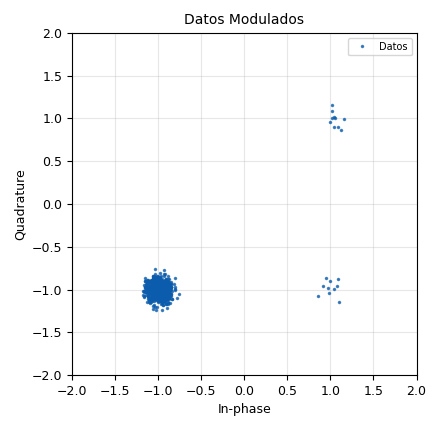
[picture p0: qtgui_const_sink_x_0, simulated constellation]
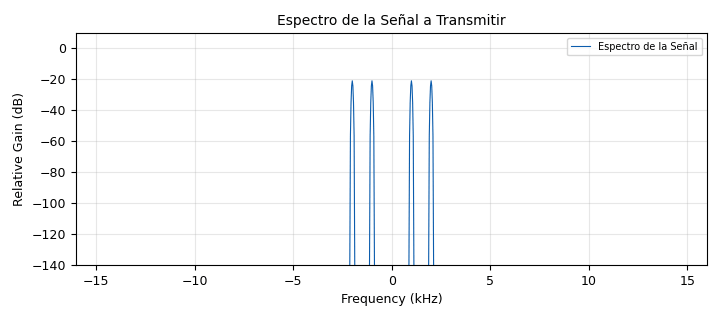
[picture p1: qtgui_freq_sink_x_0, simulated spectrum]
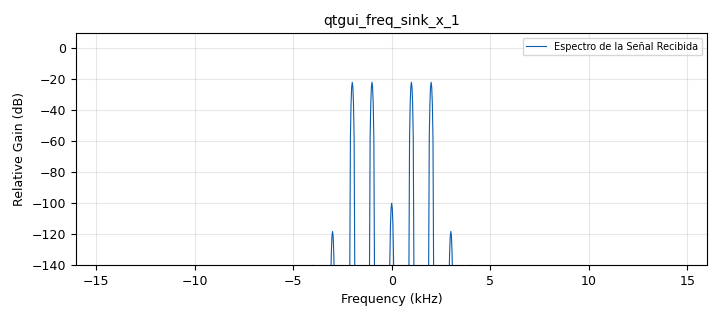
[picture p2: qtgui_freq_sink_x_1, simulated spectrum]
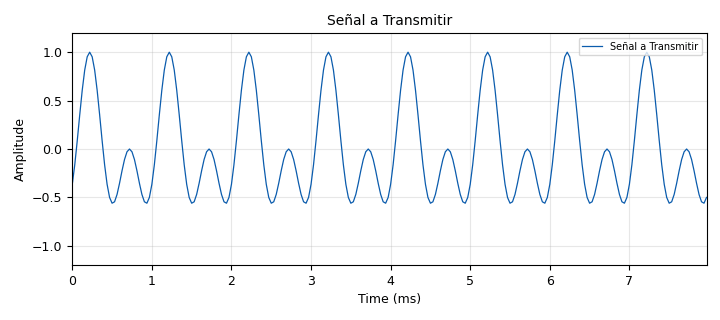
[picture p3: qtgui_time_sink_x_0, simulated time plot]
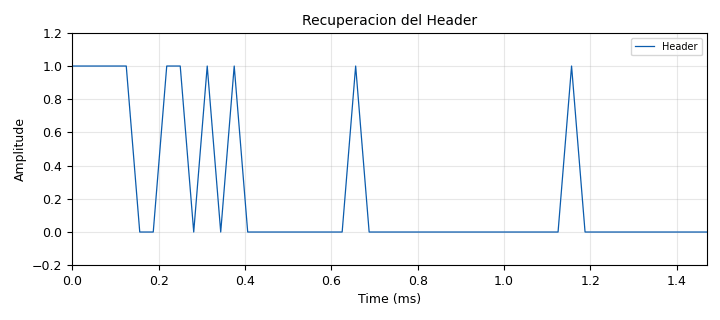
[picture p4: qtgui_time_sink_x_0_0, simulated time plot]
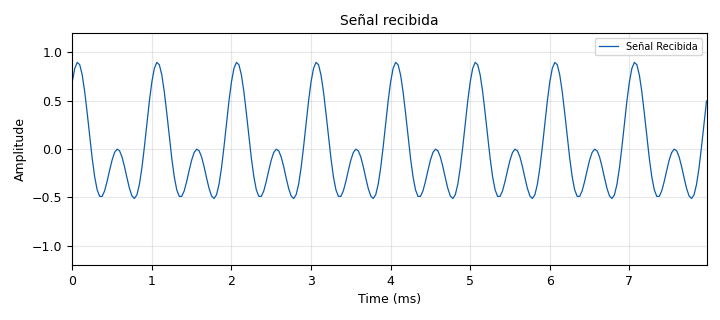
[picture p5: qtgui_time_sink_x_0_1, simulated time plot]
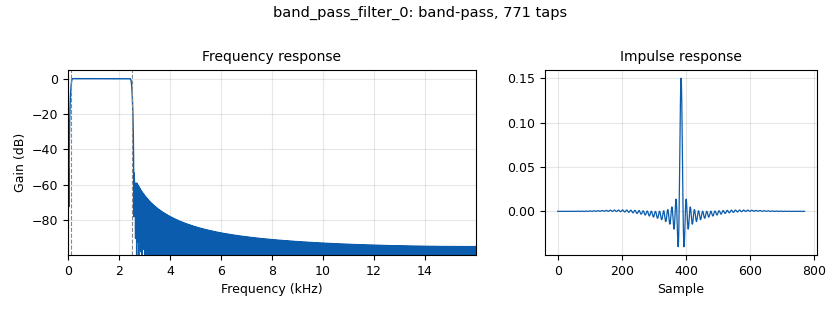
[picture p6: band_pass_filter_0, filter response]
options:
  parameters:
    author: Adan
    generate_options: qt_gui
    id: tx_rx_
    output_language: python
    title: Transmisor-Receptor-SISCOMD2023
  states: {}

blocks:
- name: Costelacion
  id: variable
  parameters:
    value: '[-1-1j, 1-1j, -1+1j, 1+1j]'
  states: {}
- name: M
  id: variable
  parameters:
    value: '4'
  states: {}
- name: Nbps
  id: variable
  parameters:
    value: int(math.log(M,2))
  states: {}
- name: costelacion_mod
  id: variable_constellation
  parameters:
    const_points: Costelacion
    precision: '8'
    type: qpsk
  states: {}
- name: hdr_format_1
  id: variable_header_format_default
  parameters:
    access_code: '1111100110101000'
    bps: '1'
    threshold: '0'
  states: {}
- name: repetition_decoder
  id: variable_repetition_decoder_def
  parameters:
    framebits: '240'
    ndim: '0'
    prob: '0.5'
    rep: '3'
  states: {}
- name: repetition_encoder
  id: variable_repetition_encoder_def
  parameters:
    framebits: '240'
    ndim: '0'
    rep: '3'
  states: {}
- name: samp_rate
  id: variable
  parameters:
    value: '32000'
  states: {}
- name: ventana
  id: variable
  parameters:
    value: (1.,1.,1.,1.)
  states: {}
- name: volumen
  id: variable
  parameters:
    value: '0.5'
  states: {}
- name: analog_noise_source_x_0
  id: analog_noise_source_x
  parameters:
    amp: '0.1'
    noise_type: analog.GR_GAUSSIAN
    seed: '0'
    type: complex
  states: {}
- name: analog_sig_source_x_0
  id: analog_sig_source_x
  parameters:
    amp: volumen
    freq: '1000'
    offset: '0'
    phase: '0'
    samp_rate: samp_rate
    type: float
    waveform: analog.GR_COS_WAVE
  states: {}
- name: analog_sig_source_x_0_0
  id: analog_sig_source_x
  parameters:
    amp: volumen
    freq: '2000'
    offset: '0'
    phase: '0'
    samp_rate: samp_rate
    type: float
    waveform: analog.GR_COS_WAVE
  states: {}
- name: audio_sink_0
  id: audio_sink
  parameters:
    samp_rate: samp_rate
  states: {}
- name: band_pass_filter_0
  id: band_pass_filter
  parameters:
    gain: '1'
    high_cutoff_freq: 2.5e3
    interp: '1'
    low_cutoff_freq: '100'
    samp_rate: samp_rate
    type: interp_fir_filter_fff
    width: '100'
    win: window.WIN_HAMMING
  states: {}
- name: blocks_add_xx_0
  id: blocks_add_xx
  parameters:
    type: float
  states: {}
- name: blocks_add_xx_1
  id: blocks_add_xx
  parameters:
    type: complex
  states: {}
- name: blocks_char_to_float_0
  id: blocks_char_to_float
  parameters:
    scale: '1'
  states: {}
- name: blocks_char_to_float_0_0
  id: blocks_char_to_float
  parameters:
    scale: '1'
  states: {}
- name: blocks_char_to_float_0_1
  id: blocks_char_to_float
  parameters:
    scale: '1'
  states: {}
- name: blocks_char_to_float_0_2
  id: blocks_char_to_float
  parameters:
    scale: '1'
  states: {}
- name: blocks_char_to_float_0_2_0
  id: blocks_char_to_float
  parameters:
    scale: '1'
  states: {}
- name: blocks_pack_k_bits_bb_1
  id: blocks_pack_k_bits_bb
  parameters:
    k: '8'
  states: {}
- name: blocks_packed_to_unpacked_xx_0
  id: blocks_packed_to_unpacked_xx
  parameters:
    bits_per_chunk: '1'
    endianness: gr.GR_LSB_FIRST
    type: byte
  states: {}
- name: blocks_repack_bits_bb_0
  id: blocks_repack_bits_bb
  parameters:
    endianness: gr.GR_MSB_FIRST
    k: '8'
    l: '1'
    len_tag_key: '"packet_len"'
  states: {}
- name: blocks_repack_bits_bb_1
  id: blocks_repack_bits_bb
  parameters:
    endianness: gr.GR_MSB_FIRST
    k: '1'
    l: '8'
    len_tag_key: '"payload symbols"'
  states: {}
- name: blocks_repack_bits_bb_1_0
  id: blocks_repack_bits_bb
  parameters:
    endianness: gr.GR_MSB_FIRST
    k: '1'
    l: Nbps
  states: {}
- name: blocks_repack_bits_bb_1_0_1
  id: blocks_repack_bits_bb
  parameters:
    endianness: gr.GR_MSB_FIRST
    k: '2'
    l: '1'
  states: {}
- name: blocks_stream_to_tagged_stream_0
  id: blocks_stream_to_tagged_stream
  parameters:
    len_tag_key: '"packet_len"'
    packet_len: '1024'
    type: byte
  states: {}
- name: blocks_tagged_stream_mux_0
  id: blocks_tagged_stream_mux
  parameters:
    lengthtagname: '"packet_len"'
    ninputs: '2'
    type: byte
  states: {}
- name: blocks_throttle2_0
  id: blocks_throttle2
  parameters:
    samples_per_second: samp_rate * 8
    type: byte
  states: {}
- name: blocks_unpack_k_bits_bb_0_0
  id: blocks_unpack_k_bits_bb
  parameters:
    k: '8'
  states: {}
- name: blocks_unpacked_to_packed_xx_1
  id: blocks_unpacked_to_packed_xx
  parameters:
    bits_per_chunk: '1'
    endianness: gr.GR_LSB_FIRST
    type: byte
  states: {}
- name: digital_chunks_to_symbols_xx_0
  id: digital_chunks_to_symbols_xx
  parameters:
    dimension: '1'
    in_type: byte
    out_type: complex
    symbol_table: Costelacion
  states: {}
- name: digital_constellation_decoder_cb_0
  id: digital_constellation_decoder_cb
  parameters:
    constellation: costelacion_mod
  states: {}
- name: digital_header_payload_demux_0
  id: digital_header_payload_demux
  parameters:
    alias: Matias
    comment: Solo funciona si se coloca la palabra "payload symbols" en Length tag key
    header_len: hdr_format_1.header_nbits()
    header_padding: '0'
    items_per_symbol: '1'
    length_tag_key: '"payload symbols"'
    output_symbols: 'True'
    samp_rate: samp_rate
    special_tags: '[]'
    timing_tag_key: '"rx_time"'
    trigger_tag_key: '"packet_len"'
    type: byte
  states: {}
- name: digital_map_bb_0_0
  id: digital_map_bb
  parameters:
    map: '[-1, 1]'
  states: {}
- name: digital_protocol_formatter_bb_0
  id: digital_protocol_formatter_bb
  parameters:
    format: hdr_format_1
    len_tag_key: '"packet_len"'
  states: {}
- name: digital_protocol_parser_b_0
  id: digital_protocol_parser_b
  parameters:
    format: hdr_format_1
  states: {}
- name: fec_extended_decoder_0_0
  id: fec_extended_decoder
  parameters:
    decoder_list: repetition_decoder
    puncpat: '''11'''
    threadtype: capillary
  states: {}
- name: fec_extended_encoder_1_0
  id: fec_extended_encoder
  parameters:
    encoder_list: repetition_encoder
    puncpat: '''11'''
    threadtype: capillary
  states: {}
- name: grafica
  id: qtgui_tab_widget
  parameters:
    label0: Audio a Transmitido - Recuperado
    label1: Transmisor
    label2: Receptor
    num_tabs: '3'
  states: {}
- name: import_0
  id: import
  parameters:
    imports: import math
  states: {}
- name: qtgui_const_sink_x_0
  id: qtgui_const_sink_x
  parameters:
    grid: 'True'
    gui_hint: grafica@1:3,0,1,1
    label1: Datos
    name: Datos Modulados
    size: '1024'
    type: complex
  states: {}
- name: qtgui_freq_sink_x_0
  id: qtgui_freq_sink_x
  parameters:
    bw: samp_rate
    fc: '0'
    fftsize: '1024'
    gui_hint: grafica@0:1,0,1,1
    label1: Espectro de la Señal
    name: Espectro de la Señal a Transmitir
    type: float
  states: {}
- name: qtgui_freq_sink_x_1
  id: qtgui_freq_sink_x
  parameters:
    bw: samp_rate
    fc: '0'
    fftsize: '1024'
    gui_hint: grafica@0:3,0,1,1
    label1: Espectro de la Señal Recibida
    type: float
  states: {}
- name: qtgui_time_sink_x_0
  id: qtgui_time_sink_x
  parameters:
    gui_hint: grafica@0:0,0,1,1
    label1: Señal a Transmitir
    name: Señal a Transmitir
    size: '256'
    srate: samp_rate
    type: float
    ymax: '1.2'
    ymin: '-1.2'
  states: {}
- name: qtgui_time_sink_x_0_0
  id: qtgui_time_sink_x
  parameters:
    gui_hint: grafica@2:1,0,1,1
    label1: Header
    name: Recuperacion del Header
    size: hdr_format_1.header_nbits()
    srate: samp_rate
    type: float
    ymax: '1.2'
    ymin: '-0.2'
  states: {}
- name: qtgui_time_sink_x_0_1
  id: qtgui_time_sink_x
  parameters:
    entags: 'False'
    gui_hint: grafica@0:2,0,1,1
    label1: Señal Recibida
    name: Señal recibida
    size: '256'
    srate: samp_rate
    type: float
    ymax: '1.2'
    ymin: '-1.2'
  states: {}
- name: qtgui_time_sink_x_2
  id: qtgui_time_sink_x
  parameters:
    gui_hint: grafica@1:0,0,1,1
    label1: Datos
    name: Datos Post CVSD Encoder
    size: 32 * 2
    srate: samp_rate
    type: float
    ymax: '1.2'
    ymin: '-0.2'
  states: {}
- name: qtgui_time_sink_x_2_0
  id: qtgui_time_sink_x
  parameters:
    gui_hint: grafica@1:1,0,1,1
    label1: Datos
    name: Datos con Trama
    size: 48 * 8
    srate: samp_rate
    type: float
    ymax: '1.2'
    ymin: '-0.2'
  states: {}
- name: qtgui_time_sink_x_2_0_0
  id: qtgui_time_sink_x
  parameters:
    gui_hint: grafica@1:2,0,1,1
    label1: Datos
    name: Datos Post FEC
    size: 32 * 8 * 3
    srate: samp_rate
    type: float
    ymax: '1.2'
    ymin: '-0.2'
  states: {}
- name: virtual_sink_0
  id: virtual_sink
  parameters:
    stream_id: datos_con_trama
  states: {}
- name: virtual_sink_1
  id: virtual_sink
  parameters:
    stream_id: Encoder
  states: {}
- name: virtual_sink_2
  id: virtual_sink
  parameters:
    stream_id: FEC
  states: {}
- name: virtual_sink_3
  id: virtual_sink
  parameters:
    stream_id: Datos Modulados
  states: {}
- name: virtual_sink_4
  id: virtual_sink
  parameters:
    stream_id: señal
  states: {}
- name: virtual_sink_5
  id: virtual_sink
  parameters:
    stream_id: header
  states: {}
- name: virtual_sink_6
  id: virtual_sink
  parameters:
    stream_id: señal recuperada
  states: {}
- name: virtual_source_0
  id: virtual_source
  parameters:
    stream_id: señal
  states: {}
- name: virtual_source_1
  id: virtual_source
  parameters:
    stream_id: Encoder
  states: {}
- name: virtual_source_1_0
  id: virtual_source
  parameters:
    stream_id: Datos Modulados
  states: {}
- name: virtual_source_2
  id: virtual_source
  parameters:
    stream_id: datos_con_trama
  states: {}
- name: virtual_source_3
  id: virtual_source
  parameters:
    stream_id: FEC
  states: {}
- name: virtual_source_4
  id: virtual_source
  parameters:
    stream_id: Datos Modulados
  states: {}
- name: virtual_source_5
  id: virtual_source
  parameters:
    stream_id: header
  states: {}
- name: virtual_source_6
  id: virtual_source
  parameters:
    stream_id: señal recuperada
  states: {}
- name: vocoder_cvsd_decode_bf_0
  id: vocoder_cvsd_decode_bf
  parameters:
    bw: '0.5'
    resample: '8'
  states: {}
- name: vocoder_cvsd_encode_fb_0
  id: vocoder_cvsd_encode_fb
  parameters:
    bw: '0.5'
    resample: '8'
  states: {}

connections:
- [analog_noise_source_x_0, '0', blocks_add_xx_1, '1']
- [analog_sig_source_x_0, '0', blocks_add_xx_0, '0']
- [analog_sig_source_x_0_0, '0', blocks_add_xx_0, '1']
- [band_pass_filter_0, '0', audio_sink_0, '0']
- [band_pass_filter_0, '0', virtual_sink_6, '0']
- [blocks_add_xx_0, '0', virtual_sink_4, '0']
- [blocks_add_xx_0, '0', vocoder_cvsd_encode_fb_0, '0']
- [blocks_add_xx_1, '0', virtual_sink_3, '0']
- [blocks_char_to_float_0, '0', qtgui_time_sink_x_2, '0']
- [blocks_char_to_float_0_0, '0', qtgui_time_sink_x_0_0, '0']
- [blocks_char_to_float_0_1, '0', fec_extended_decoder_0_0, '0']
- [blocks_char_to_float_0_2, '0', qtgui_time_sink_x_2_0, '0']
- [blocks_char_to_float_0_2_0, '0', qtgui_time_sink_x_2_0_0, '0']
- [blocks_pack_k_bits_bb_1, '0', digital_header_payload_demux_0, '0']
- [blocks_packed_to_unpacked_xx_0, '0', blocks_stream_to_tagged_stream_0, '0']
- [blocks_packed_to_unpacked_xx_0, '0', virtual_sink_1, '0']
- [blocks_repack_bits_bb_0, '0', blocks_throttle2_0, '0']
- [blocks_repack_bits_bb_0, '0', virtual_sink_0, '0']
- [blocks_repack_bits_bb_1, '0', blocks_unpacked_to_packed_xx_1, '0']
- [blocks_repack_bits_bb_1_0, '0', digital_chunks_to_symbols_xx_0, '0']
- [blocks_repack_bits_bb_1_0_1, '0', digital_map_bb_0_0, '0']
- [blocks_stream_to_tagged_stream_0, '0', blocks_tagged_stream_mux_0, '1']
- [blocks_stream_to_tagged_stream_0, '0', digital_protocol_formatter_bb_0, '0']
- [blocks_tagged_stream_mux_0, '0', blocks_repack_bits_bb_0, '0']
- [blocks_throttle2_0, '0', blocks_unpack_k_bits_bb_0_0, '0']
- [blocks_unpack_k_bits_bb_0_0, '0', fec_extended_encoder_1_0, '0']
- [blocks_unpacked_to_packed_xx_1, '0', vocoder_cvsd_decode_bf_0, '0']
- [digital_chunks_to_symbols_xx_0, '0', blocks_add_xx_1, '0']
- [digital_constellation_decoder_cb_0, '0', blocks_repack_bits_bb_1_0_1, '0']
- [digital_header_payload_demux_0, '0', digital_protocol_parser_b_0, '0']
- [digital_header_payload_demux_0, '0', virtual_sink_5, '0']
- [digital_header_payload_demux_0, '1', blocks_repack_bits_bb_1, '0']
- [digital_map_bb_0_0, '0', blocks_char_to_float_0_1, '0']
- [digital_protocol_formatter_bb_0, '0', blocks_tagged_stream_mux_0, '0']
- [digital_protocol_parser_b_0, info, digital_header_payload_demux_0, header_data]
- [fec_extended_decoder_0_0, '0', blocks_pack_k_bits_bb_1, '0']
- [fec_extended_encoder_1_0, '0', blocks_repack_bits_bb_1_0, '0']
- [fec_extended_encoder_1_0, '0', virtual_sink_2, '0']
- [virtual_source_0, '0', qtgui_freq_sink_x_0, '0']
- [virtual_source_0, '0', qtgui_time_sink_x_0, '0']
- [virtual_source_1, '0', blocks_char_to_float_0, '0']
- [virtual_source_1_0, '0', digital_constellation_decoder_cb_0, '0']
- [virtual_source_2, '0', blocks_char_to_float_0_2, '0']
- [virtual_source_3, '0', blocks_char_to_float_0_2_0, '0']
- [virtual_source_4, '0', qtgui_const_sink_x_0, '0']
- [virtual_source_5, '0', blocks_char_to_float_0_0, '0']
- [virtual_source_6, '0', qtgui_freq_sink_x_1, '0']
- [virtual_source_6, '0', qtgui_time_sink_x_0_1, '0']
- [vocoder_cvsd_decode_bf_0, '0', band_pass_filter_0, '0']
- [vocoder_cvsd_encode_fb_0, '0', blocks_packed_to_unpacked_xx_0, '0']

metadata:
  file_format: 1
  grc_version: 3.10.7.0
